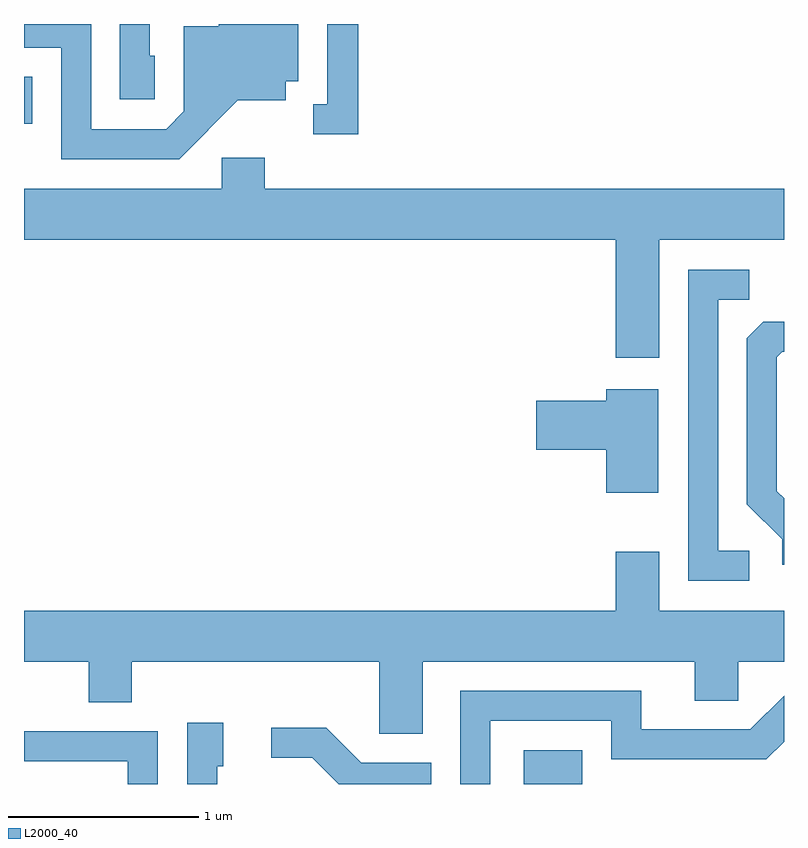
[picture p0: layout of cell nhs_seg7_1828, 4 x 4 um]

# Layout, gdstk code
import gdstk
lib = gdstk.Library(unit=1e-6, precision=1e-09)
def R(c, l, rs):  # rectangles x0, y0, x1, y1
    for r in rs: c.add(gdstk.rectangle(r[:2], r[2:], *l))
def P(c, l, *ps):  # polygons
    for p in ps: c.add(gdstk.Polygon(p, *l))
L2000_40 = (2000, 40)

nhs_seg7_1828 = lib.new_cell('nhs_seg7_1828')
R(nhs_seg7_1828, L2000_40, [(242.241,1800.252,242.549,1800.429), (239.611,1803.726,239.654,1803.974)])
P(nhs_seg7_1828, L2000_40, [(241.369,1804.252),(241.206,1804.252),(241.206,1803.829),(241.133,1803.829),(241.133,1803.671),(241.369,1803.671)],
  [(240.299,1804.084),(240.274,1804.084),(240.274,1804.252),(240.116,1804.252),(240.116,1803.856),(240.299,1803.856)],
  [(240.737,1803.851),(240.989,1803.851),(240.989,1803.951),(241.054,1803.951),(241.054,1804.252),(240.636,1804.252),(240.636,1804.239),(240.451,1804.239),(240.451,1803.792),(240.359,1803.699),(239.964,1803.699),(239.964,1804.252),(239.611,1804.252),(239.611,1804.126),(239.806,1804.126),(239.806,1803.541),(240.427,1803.541)],
  [(242.954,1803.116),(243.611,1803.116),(243.611,1803.384),(240.879,1803.384),(240.879,1803.549),(240.651,1803.549),(240.651,1803.384),(239.611,1803.384),(239.611,1803.116),(242.726,1803.116),(242.726,1802.496),(242.954,1802.496)],
  [(243.428,1801.479),(243.264,1801.479),(243.264,1802.801),(243.428,1802.801),(243.428,1802.959),(243.106,1802.959),(243.106,1801.321),(243.428,1801.321)],
  [(243.611,1801.755),(243.574,1801.792),(243.574,1802.499),(243.602,1802.526),(243.611,1802.526),(243.611,1802.684),(243.502,1802.684),(243.416,1802.599),(243.416,1801.724),(243.601,1801.539),(243.601,1801.406),(243.611,1801.406)],
  [(242.949,1802.329),(242.676,1802.329),(242.676,1802.269),(242.306,1802.269),(242.306,1802.011),(242.676,1802.011),(242.676,1801.786),(242.949,1801.786)],
  [(241.709,1800.896),(243.141,1800.896),(243.141,1800.691),(243.369,1800.691),(243.369,1800.896),(243.611,1800.896),(243.611,1801.164),(242.954,1801.164),(242.954,1801.474),(242.726,1801.474),(242.726,1801.164),(239.611,1801.164),(239.611,1800.896),(239.951,1800.896),(239.951,1800.681),(240.179,1800.681),(240.179,1800.896),(241.481,1800.896),(241.481,1800.516),(241.709,1800.516)],
  [(242.064,1800.586),(242.701,1800.586),(242.701,1800.381),(243.517,1800.381),(243.611,1800.475),(243.611,1800.716),(243.434,1800.539),(242.859,1800.539),(242.859,1800.744),(241.906,1800.744),(241.906,1800.252),(242.064,1800.252)],
  [(240.629,1800.346),(240.659,1800.346),(240.659,1800.574),(240.471,1800.574),(240.471,1800.252),(240.629,1800.252)],
  [(241.754,1800.364),(241.387,1800.364),(241.202,1800.549),(240.913,1800.549),(240.913,1800.391),(241.129,1800.391),(241.268,1800.252),(241.754,1800.252)],
  [(240.314,1800.529),(239.611,1800.529),(239.611,1800.371),(240.156,1800.371),(240.156,1800.252),(240.314,1800.252)])

lib.write_gds('nhs_seg7_1828.gds')
